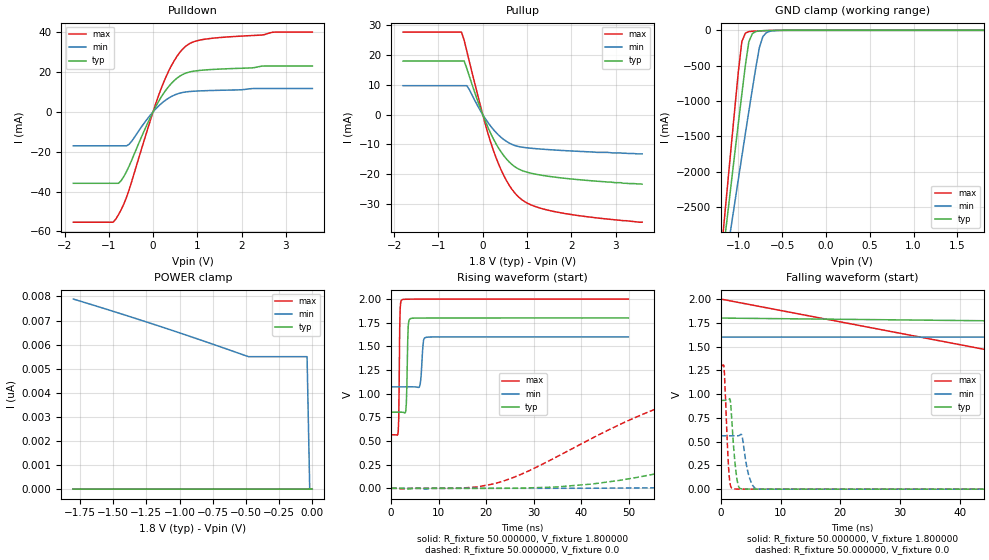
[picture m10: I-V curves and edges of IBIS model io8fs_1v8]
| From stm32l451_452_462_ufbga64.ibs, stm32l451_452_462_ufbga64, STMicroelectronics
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|   Model io8fs_1v8
[Model]  io8fs_1v8
Model_type I/O
Polarity   Non-Inverting
Enable   Active-Low
Vinl =   0.540000V
Vinh =   1.260000V
Vmeas =  0.900000V
Cref =   100.000000nF
Rref =   1.000000k
Vref =   1.800000V
C_comp   2.197300pF   2.162700pF   2.264100pF
[Temperature Range]   25.000000   0.125000k   -40.000000
[Pullup Reference]   1.800000V   1.600000V   2.000000V
[Pulldown Reference]   0.0V   0.0V   0.0V
[POWER Clamp Reference]   1.800000V   1.600000V   2.000000V
[GND Clamp Reference]   0.0V   0.0V   0.0V
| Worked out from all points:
|   slope of the pulldown table from 0 to 0.27 V, typ, clamps not added: 26.2 ohm
|   slope of the pullup table from 0 to 0.27 V, typ, clamps not added: 30.1 ohm
|   GND clamp passes 1 mA (typ) near -0.58 V on its own axis
|   rising waveform, R_fixture 50.000000, V_fixture 1.800000: 20-80 % time 248ps typ, 394ps min, 184ps max; typ from 0.804 V to 1.8 V
|   rising waveform, R_fixture 50.000000, V_fixture 0.0: 20-80 % time 65.2ns typ, 116ns min, 36.2ns max; typ from 0 V to 0.934 V
|   falling waveform, R_fixture 50.000000, V_fixture 1.800000: 20-80 % time 75.8ns typ, 121ns min, 63.2ns max; typ from 1.8 V to 0.804 V
|   falling waveform, R_fixture 50.000000, V_fixture 0.0: 20-80 % time 711ps typ, 1.02ns min, 545ps max; typ from 0.934 V to 0 V
[Pulldown]
|Voltage   I(typ)   I(min)   I(max)
-1.8V     -35.82mA   -17.03mA   -55.34mA
-900mV    -35.82mA   -17.03mA   -55.34mA
-840mV    -35.82mA   -17.03mA   -53.76mA
-720mV    -34.49mA   -17.03mA   -49.08mA
-540mV    -27.18mA   -16.22mA   -39.07mA
-60mV     -2.756mA   -1.584mA   -4.227mA
240mV     9.353mA    5.171mA    14.85mA
480mV     15.75mA    8.427mA    25.77mA
720mV     19.29mA    9.947mA    32.62mA
960mV     20.57mA    10.43mA    35.5mA
1.32V     21.27mA    10.74mA    36.91mA
3.6V      23.03mA    11.73mA    40.05mA
[Pullup]
|Voltage   I(typ)   I(min)   I(max)
-1.8V     18.05mA    9.741mA    27.78mA
-480mV    18.05mA    9.741mA    27.78mA
-420mV    18.05mA    9.741mA    25.03mA
-360mV    15.57mA    9.741mA    21.38mA
60mV      -2.268mA   -1.401mA   -3.341mA
240mV     -8.143mA   -5.004mA   -12mA
360mV     -11.31mA   -6.914mA   -16.72mA
540mV     -15mA      -9.056mA   -22.31mA
840mV     -18.52mA   -10.83mA   -28.11mA
1.14V     -19.87mA   -11.38mA   -30.67mA
1.68V     -21.13mA   -11.96mA   -32.81mA
3.6V      -23.4mA    -13.2mA    -36.2mA
[GND_clamp]
|Voltage   I(typ)   I(min)   I(max)
-1.8V     -9.861A    -8.8A      -9.626A
-1.16V    -3.004A    -3.417A    -2.68A
-1.12V    -2.579A    -3.088A    -2.15A
-1.08V    -2.155A    -2.76A     -1.623A
-1V       -1.315A    -2.108A    -586.3mA
-960mV    -900.6mA   -1.784A    -158.3mA
-920mV    -496.8mA   -1.462A    -39.39mA
-880mV    -160.5mA   -1.144A    -17.82mA
-840mV    -45.92mA   -830.3mA   -12.52mA
-760mV    -8.262mA   -243mA     -7.547mA
-680mV    -3.389mA   -33.05mA   -3.833mA
1.8V      0A         0A         0A
[POWER_clamp]
|Voltage   I(typ)   I(min)   I(max)
-1.8V     0A         7.891nA    0A
-1.14V    0A         6.744nA    0A
-480mV    0A         5.5nA      0A
-40mV     0A         5.5nA      0A
-20mV     0A         0A         0A
0V        0A         0A         0A
[Ramp]
| variable   typ   min   max
dV/dt_r  0.56066/65.10411n   0.33689/0.11591u   0.77868/36.15625n
dV/dt_f  0.59736/66.12115n   0.31662/0.11582u   0.86072/35.01231n
R_load = 50.000000
[Rising Waveform]
R_fixture= 50.000000
V_fixture= 1.800000
V_fixture_min= 1.600000
V_fixture_max= 2.000000
|time   V(typ)   V(min)   V(max)
0s        804.4mV    1.072V     565.5mV
1.502ns   804.4mV    1.072V     605.1mV
1.902ns   804.4mV    1.072V     1.897V
2.302ns   804.2mV    1.072V     1.993V
3.103ns   828.2mV    1.072V     1.998V
3.604ns   1.718V     1.072V     1.999V
4.104ns   1.794V     1.072V     1.999V
6.006ns   1.8V       1.08V      2V
7.407ns   1.8V       1.596V     2V
49.85ns   1.8V       1.6V       2V
[Rising Waveform]
R_fixture= 50.000000
V_fixture= 0.0
V_fixture_min= 0.0
V_fixture_max= 0.0
|time   V(typ)   V(min)   V(max)
0s        1.798uV    1.954uV    2.437uV
21.62ns   330uV      -33.39uV   47.64mV
42.04ns   44.71mV    937uV      524.5mV
64.86ns   250.4mV    13.63mV    994.4mV
81.68ns   427.8mV    39.23mV    1.169V
102.1ns   611.1mV    97.11mV    1.25V
127.3ns   762.8mV    186.7mV    1.28V
156.2ns   853.2mV    286mV      1.293V
260.7ns   929.8mV    499.2mV    1.298V
598.2ns   934.4mV    561.5mV    1.298V
[Falling Waveform]
R_fixture= 50.000000
V_fixture= 1.800000
V_fixture_min= 1.600000
V_fixture_max= 2.000000
|time   V(typ)   V(min)   V(max)
0s        1.8V       1.6V       2V
50.05ns   1.768V     1.6V       1.4V
100.1ns   1.333V     1.566V     660.4mV
150.2ns   966.2mV    1.432V     586.8mV
200.2ns   866.1mV    1.275V     571.3mV
250.2ns   829.7mV    1.173V     567mV
300.3ns   815.2mV    1.131V     566.1mV
400.4ns   806.4mV    1.091V     565.5mV
550.6ns   804.6mV    1.076V     565.5mV
4.955us   804.4mV    1.072V     565.5mV
[Falling Waveform]
R_fixture= 50.000000
V_fixture= 0.0
V_fixture_min= 0.0
V_fixture_max= 0.0
|time   V(typ)   V(min)   V(max)
0s        934.4mV    561.5mV    1.298V
500.5ps   934.7mV    561.5mV    1.303V
1.401ns   946mV      561.6mV    139.5mV
1.602ns   928.7mV    561.7mV    40.99mV
2.002ns   569mV      561.8mV    5.392mV
2.703ns   104mV      561.4mV    1.238mV
3.403ns   4.316mV    577.3mV    759.5uV
4.805ns   557.2uV    119.3mV    433.8uV
6.006ns   271.8uV    3.014mV    295.9uV
49.85ns   1.798uV    1.954uV    2.437uV
